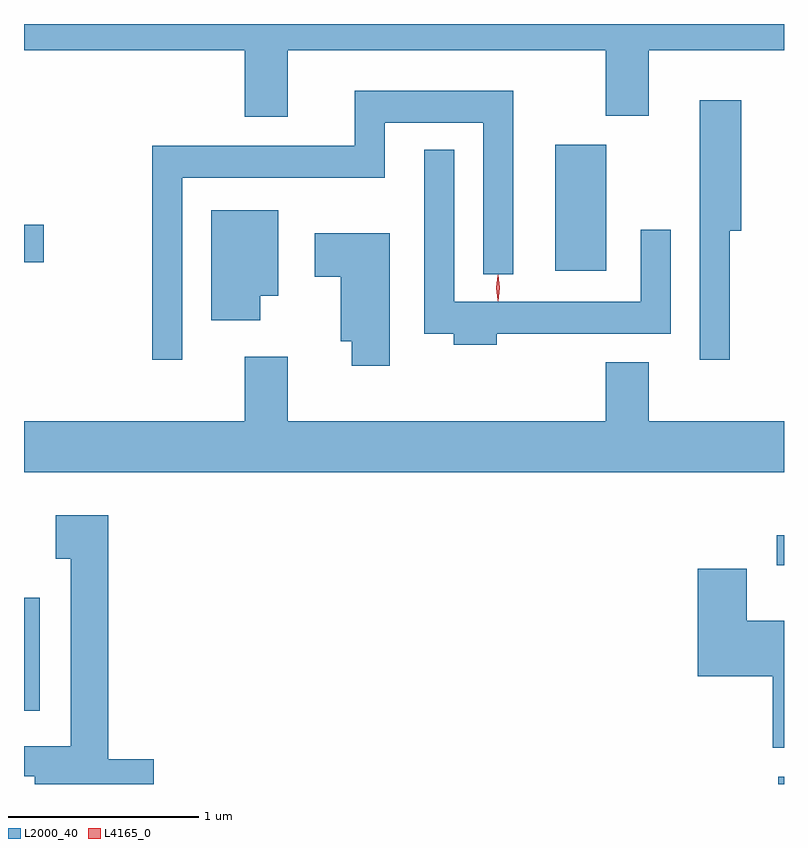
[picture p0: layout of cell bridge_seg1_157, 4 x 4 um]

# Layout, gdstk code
import gdstk
lib = gdstk.Library(unit=1e-6, precision=1e-09)
def R(c, l, rs):  # rectangles x0, y0, x1, y1
    for r in rs: c.add(gdstk.rectangle(r[:2], r[2:], *l))
def P(c, l, *ps):  # polygons
    for p in ps: c.add(gdstk.Polygon(p, *l))
L2000_40 = (2000, 40)
L4165_0 = (4165, 0)

bridge_seg1_157 = lib.new_cell('bridge_seg1_157')
R(bridge_seg1_157, L2000_40, [(844.321,911.255,844.35,911.294), (840.35,911.641,840.434,912.234), (844.313,912.406,844.35,912.564), (843.146,913.956,843.414,914.619), (840.35,914.001,840.454,914.199)])
P(bridge_seg1_157, L2000_40, [(841.739,915.116),(843.411,915.116),(843.411,914.771),(843.639,914.771),(843.639,915.116),(844.35,915.116),(844.35,915.255),(840.35,915.255),(840.35,915.116),(841.511,915.116),(841.511,914.766),(841.739,914.766)],
  [(841.184,914.446),(842.249,914.446),(842.249,914.736),(842.766,914.736),(842.766,913.938),(842.924,913.938),(842.924,914.904),(842.091,914.904),(842.091,914.614),(841.026,914.614),(841.026,913.488),(841.184,913.488)],
  [(844.064,914.166),(844.124,914.166),(844.124,914.854),(843.906,914.854),(843.906,913.488),(844.064,913.488)],
  [(842.839,913.626),(843.754,913.626),(843.754,914.173),(843.596,914.173),(843.596,913.794),(842.614,913.794),(842.614,914.593),(842.456,914.593),(842.456,913.626),(842.611,913.626),(842.611,913.566),(842.839,913.566)],
  [(841.594,913.826),(841.689,913.826),(841.689,914.274),(841.336,914.274),(841.336,913.696),(841.594,913.696)],
  [(842.274,914.154),(841.881,914.154),(841.881,913.926),(842.016,913.926),(842.016,913.586),(842.076,913.586),(842.076,913.456),(842.274,913.456)],
  [(843.411,913.474),(843.411,913.164),(841.739,913.164),(841.739,913.504),(841.511,913.504),(841.511,913.164),(840.35,913.164),(840.35,912.896),(844.35,912.896),(844.35,913.164),(843.639,913.164),(843.639,913.474)],
  [(841.034,911.384),(840.794,911.384),(840.794,912.669),(840.516,912.669),(840.516,912.441),(840.596,912.441),(840.596,911.454),(840.35,911.454),(840.35,911.296),(840.406,911.296),(840.406,911.255),(841.034,911.255)],
  [(844.35,912.114),(844.154,912.114),(844.154,912.389),(843.896,912.389),(843.896,911.821),(844.291,911.821),(844.291,911.446),(844.35,911.446)])
P(bridge_seg1_157, L4165_0, [(842.845,913.797),(842.845,913.797),(842.835,913.867),(842.845,913.936),(842.845,913.936),(842.846,913.936),(842.855,913.867),(842.846,913.797)],
  [(842.844,913.799),(842.844,913.8),(842.835,913.866),(842.844,913.932),(842.845,913.933),(842.845,913.932),(842.854,913.866),(842.845,913.8)])

lib.write_gds('bridge_seg1_157.gds')
